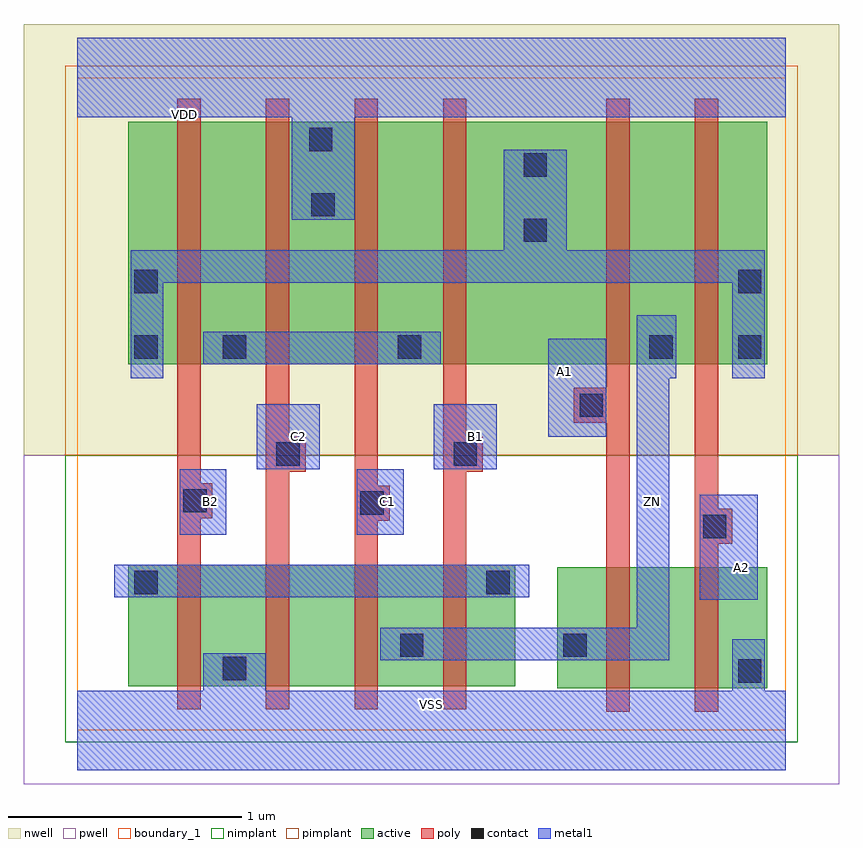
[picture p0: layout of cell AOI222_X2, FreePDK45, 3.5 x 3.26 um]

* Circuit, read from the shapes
.subckt AOI222_X2 A1 A2 B1 B2 C1 C2 VDD VSS ZN
M1 VSS B2 n1 VSUBS nfet w=0.52u l=0.1u
M2 n2 C2 VSS VSUBS nfet w=0.52u l=0.1u
M3 ZN C1 n2 VSUBS nfet w=0.52u l=0.1u
M4 n1 B1 ZN VSUBS nfet w=0.52u l=0.1u
M5 n3 A1 ZN VSUBS nfet w=0.52u l=0.1u
M6 VSS A2 n3 VSUBS nfet w=0.52u l=0.1u
M7 n4 B2 n5 n6 pfet w=1.04u l=0.1u
M8 VDD C2 n4 n6 pfet w=1.04u l=0.1u
M9 n4 C1 VDD n6 pfet w=1.04u l=0.1u
M10 n5 B1 n4 n6 pfet w=1.04u l=0.1u
M11 ZN A1 n5 n6 pfet w=1.04u l=0.1u
M12 n5 A2 ZN n6 pfet w=1.04u l=0.1u
.ends

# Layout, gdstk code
import gdstk
lib = gdstk.Library(unit=1e-6, precision=1e-09)
def R(c, l, rs):  # rectangles x0, y0, x1, y1
    for r in rs: c.add(gdstk.rectangle(r[:2], r[2:], *l))
def P(c, l, *ps):  # polygons
    for p in ps: c.add(gdstk.Polygon(p, *l))
active = (1, 0)
pwell = (2, 0)
nwell = (3, 0)
nimplant = (4, 0)
pimplant = (5, 0)
poly = (9, 0)
contact = (10, 0)
metal1 = (11, 0)
boundary_1 = (235, 1)

aoi222_x2 = lib.new_cell('AOI222_X2')
R(aoi222_x2, active, [(2.06,0.18,2.96,0.7), (0.22,0.19,1.88,0.71), (0.22,1.57,2.96,2.61)])
R(aoi222_x2, pwell, [(-0.23,-0.23,3.27,1.18)])
R(aoi222_x2, nwell, [(-0.23,1.18,3.27,3.03)])
R(aoi222_x2, nimplant, [(-0.05,-0.05,3.09,1.18)])
R(aoi222_x2, pimplant, [(-0.05,1.18,3.09,2.85)])
P(aoi222_x2, poly, [(2.65,0.08),(2.75,0.08),(2.75,0.8),(2.81,0.8),(2.81,0.95),(2.75,0.95),(2.75,2.71),(2.65,2.71)],
  [(2.13,1.32),(2.27,1.32),(2.27,0.08),(2.37,0.08),(2.37,2.71),(2.27,2.71),(2.27,1.47),(2.13,1.47)],
  [(1.57,0.09),(1.67,0.09),(1.67,1.11),(1.74,1.11),(1.74,1.26),(1.67,1.26),(1.67,2.71),(1.57,2.71)],
  [(1.19,0.09),(1.29,0.09),(1.29,0.9),(1.34,0.9),(1.34,1.05),(1.29,1.05),(1.29,2.71),(1.19,2.71)],
  [(0.81,0.09),(0.91,0.09),(0.91,1.11),(0.98,1.11),(0.98,1.26),(0.91,1.26),(0.91,2.71),(0.81,2.71)],
  [(0.43,0.09),(0.53,0.09),(0.53,0.91),(0.58,0.91),(0.58,1.06),(0.53,1.06),(0.53,2.71),(0.43,2.71)])
R(aoi222_x2, contact, [(2.835,0.205,2.935,0.305), (0.625,0.215,0.725,0.315), (1.385,0.315,1.485,0.415), (2.085,0.315,2.185,0.415), (0.245,0.585,0.345,0.685), (1.755,0.585,1.855,0.685), (2.685,0.825,2.785,0.925), (1.215,0.925,1.315,1.025), (0.455,0.935,0.555,1.035), (0.855,1.135,0.955,1.235), (1.615,1.135,1.715,1.235), (2.155,1.345,2.255,1.445), (0.245,1.595,0.345,1.695), (0.625,1.595,0.725,1.695), (1.375,1.595,1.475,1.695), (2.455,1.595,2.555,1.695), (2.835,1.595,2.935,1.695), (0.245,1.875,0.345,1.975), (2.835,1.875,2.935,1.975), (1.915,2.095,2.015,2.195), (1.005,2.205,1.105,2.305), (1.915,2.375,2.015,2.475), (0.995,2.485,1.095,2.585)])
R(aoi222_x2, metal1, [(2.67,0.56,2.92,1.01), (2.67,0.56,2.92,1.01), (0.16,0.57,1.94,0.71), (0.44,0.84,0.64,1.12), (0.44,0.84,0.64,1.12), (1.2,0.84,1.4,1.12), (1.2,0.84,1.4,1.12), (0.77,1.12,1.04,1.4), (0.77,1.12,1.04,1.4), (1.53,1.12,1.8,1.4), (1.53,1.12,1.8,1.4), (2.02,1.26,2.27,1.68), (2.02,1.26,2.27,1.68), (0.54,1.57,1.56,1.71)])
P(aoi222_x2, metal1, [(0,-0.17),(3.04,-0.17),(3.04,0.17),(2.95,0.17),(2.95,0.39),(2.81,0.39),(2.81,0.17),(0.81,0.17),(0.81,0.33),(0.54,0.33),(0.54,0.17),(0,0.17)],
  [(1.3,0.3),(2.54,0.3),(2.54,1.51),(2.57,1.51),(2.57,1.78),(2.4,1.78),(2.4,0.44),(1.3,0.44)],
  [(0,2.63),(0.92,2.63),(0.92,2.19),(1.19,2.19),(1.19,2.63),(3.04,2.63),(3.04,2.97),(0,2.97)],
  [(0,2.63),(0.92,2.63),(0.92,2.19),(1.19,2.19),(1.19,2.63),(3.04,2.63),(3.04,2.97),(0,2.97)],
  [(0,-0.17),(3.04,-0.17),(3.04,0.17),(2.95,0.17),(2.95,0.39),(2.81,0.39),(2.81,0.17),(0.81,0.17),(0.81,0.33),(0.54,0.33),(0.54,0.17),(0,0.17)],
  [(0.23,1.51),(0.37,1.51),(0.37,1.92),(2.81,1.92),(2.81,1.51),(2.95,1.51),(2.95,2.06),(2.1,2.06),(2.1,2.49),(1.83,2.49),(1.83,2.06),(0.23,2.06)],
  [(1.3,0.3),(2.54,0.3),(2.54,1.51),(2.57,1.51),(2.57,1.78),(2.4,1.78),(2.4,0.44),(1.3,0.44)])
R(aoi222_x2, boundary_1, [(0,0,3.04,2.8)])
aoi222_x2.add(gdstk.Label('ZN', (2.47,0.98), layer=11, texttype=0))
aoi222_x2.add(gdstk.Label('VSS', (1.52,0.11), layer=11, texttype=0))
aoi222_x2.add(gdstk.Label('VDD', (0.46,2.64), layer=11, texttype=0))
aoi222_x2.add(gdstk.Label('C2', (0.95,1.26), layer=11, texttype=0))
aoi222_x2.add(gdstk.Label('C1', (1.33,0.98), layer=11, texttype=0))
aoi222_x2.add(gdstk.Label('B2', (0.57,0.98), layer=11, texttype=0))
aoi222_x2.add(gdstk.Label('B1', (1.71,1.26), layer=11, texttype=0))
aoi222_x2.add(gdstk.Label('A2', (2.85,0.7), layer=11, texttype=0))
aoi222_x2.add(gdstk.Label('A1', (2.09,1.54), layer=11, texttype=0))

lib.write_gds('AOI222_X2.gds')
